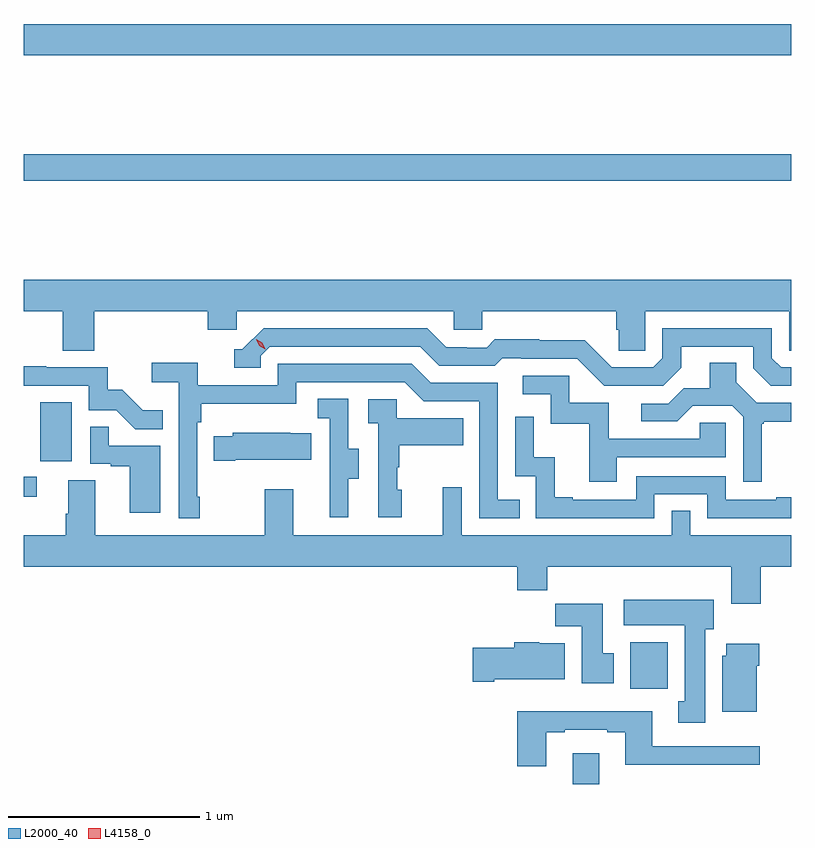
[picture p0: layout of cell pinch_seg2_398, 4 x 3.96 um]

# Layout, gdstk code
import gdstk
lib = gdstk.Library(unit=1e-6, precision=1e-09)
def R(c, l, rs):  # rectangles x0, y0, x1, y1
    for r in rs: c.add(gdstk.rectangle(r[:2], r[2:], *l))
def P(c, l, *ps):  # polygons
    for p in ps: c.add(gdstk.Polygon(p, *l))
L2000_40 = (2000, 40)
L4158_0 = (4158, 0)

pinch_seg2_398 = lib.new_cell('pinch_seg2_398')
R(pinch_seg2_398, L2000_40, [(960.413,621.195,960.553,621.355), (960.713,621.692,960.91,621.934), (957.553,622.692,957.622,622.797), (957.638,622.878,957.802,623.185), (957.553,624.34,961.553,624.476), (957.553,624.992,961.553,625.156)])
P(pinch_seg2_398, L2000_40, [(957.92,623.66),(958.511,623.66),(958.511,623.562),(958.662,623.562),(958.662,623.66),(959.793,623.66),(959.793,623.562),(959.943,623.562),(959.943,623.66),(960.641,623.66),(960.641,623.562),(960.655,623.562),(960.655,623.452),(960.792,623.452),(960.792,623.66),(961.542,623.66),(961.542,623.452),(961.553,623.452),(961.553,623.824),(957.553,623.824),(957.553,623.66),(957.755,623.66),(957.755,623.452),(957.92,623.452)],
  [(960.979,623.365),(960.979,623.475),(961.356,623.475),(961.356,623.361),(961.446,623.271),(961.553,623.271),(961.553,623.367),(961.5,623.367),(961.452,623.415),(961.452,623.571),(960.882,623.571),(960.882,623.415),(960.834,623.367),(960.618,623.367),(960.476,623.509),(960.24,623.509),(960.24,623.512),(960.007,623.512),(959.965,623.469),(959.862,623.469),(959.862,623.472),(959.755,623.472),(959.656,623.571),(958.803,623.571),(958.692,623.46),(958.649,623.46),(958.649,623.364),(958.788,623.364),(958.788,623.427),(958.836,623.475),(959.619,623.475),(959.718,623.376),(960.007,623.376),(960.046,623.415),(960.145,623.415),(960.145,623.412),(960.438,623.412),(960.579,623.271),(960.885,623.271)],
  [(961.399,623.073),(961.411,623.073),(961.411,623.084),(961.553,623.084),(961.553,623.181),(961.374,623.181),(961.267,623.288),(961.267,623.39),(961.127,623.39),(961.127,623.258),(960.992,623.258),(960.912,623.178),(960.771,623.178),(960.771,623.085),(960.958,623.085),(961.039,623.166),(961.245,623.166),(961.302,623.109),(961.302,622.77),(961.399,622.77)],
  [(958.471,622.693),(958.458,622.693),(958.458,623.081),(958.478,623.081),(958.478,623.177),(958.974,623.177),(958.974,623.289),(959.538,623.289),(959.637,623.19),(959.928,623.19),(959.928,622.581),(960.137,622.581),(960.137,622.677),(960.024,622.677),(960.024,623.286),(959.674,623.286),(959.575,623.385),(958.878,623.385),(958.878,623.274),(958.46,623.274),(958.46,623.39),(958.221,623.39),(958.221,623.288),(958.362,623.288),(958.362,622.581),(958.471,622.581)],
  [(958.277,623.143),(958.173,623.143),(958.066,623.25),(957.99,623.25),(957.99,623.367),(957.671,623.367),(957.671,623.372),(957.553,623.372),(957.553,623.271),(957.891,623.271),(957.891,623.142),(958.035,623.142),(958.133,623.044),(958.277,623.044)],
  [(960.643,622.899),(961.212,622.899),(961.212,623.079),(961.075,623.079),(961.075,622.995),(960.601,622.995),(960.601,623.181),(960.396,623.181),(960.396,623.322),(960.153,623.322),(960.153,623.226),(960.3,623.226),(960.3,623.073),(960.499,623.073),(960.499,622.77),(960.643,622.77)],
  [(959.245,622.786),(959.299,622.786),(959.299,622.941),(959.244,622.941),(959.244,623.204),(959.085,623.204),(959.085,623.101),(959.148,623.101),(959.148,622.797),(959.147,622.797),(959.147,622.584),(959.245,622.584)],
  [(959.524,622.728),(959.499,622.728),(959.499,622.847),(959.509,622.847),(959.509,622.961),(959.843,622.961),(959.843,623.101),(959.496,623.101),(959.496,623.199),(959.349,623.199),(959.349,623.075),(959.4,623.075),(959.4,622.584),(959.524,622.584)],
  [(960.84,622.704),(961.116,622.704),(961.116,622.581),(961.553,622.581),(961.553,622.69),(961.475,622.69),(961.475,622.677),(961.212,622.677),(961.212,622.8),(960.744,622.8),(960.744,622.677),(960.415,622.677),(960.415,622.69),(960.32,622.69),(960.32,622.898),(960.21,622.898),(960.21,623.11),(960.114,623.11),(960.114,622.8),(960.222,622.8),(960.222,622.581),(960.84,622.581)],
  [(958.264,622.959),(957.995,622.959),(957.995,623.057),(957.9,623.057),(957.9,622.863),(958.007,622.863),(958.007,622.851),(958.106,622.851),(958.106,622.608),(958.264,622.608)],
  [(958.654,622.886),(959.051,622.886),(959.051,623.023),(958.943,623.023),(958.943,623.026),(958.641,623.026),(958.641,623.008),(958.543,623.008),(958.543,622.879),(958.654,622.879)],
  [(961.026,622.619),(960.93,622.619),(960.93,622.492),(959.835,622.492),(959.835,622.741),(959.738,622.741),(959.738,622.492),(958.957,622.492),(958.957,622.732),(958.81,622.732),(958.81,622.492),(957.925,622.492),(957.925,622.778),(957.785,622.778),(957.785,622.604),(957.773,622.604),(957.773,622.492),(957.553,622.492),(957.553,622.328),(960.125,622.328),(960.125,622.204),(960.281,622.204),(960.281,622.328),(961.241,622.328),(961.241,622.134),(961.394,622.134),(961.394,622.328),(961.553,622.328),(961.553,622.492),(961.026,622.492)],
  [(961.105,622.002),(961.15,622.002),(961.15,622.156),(960.681,622.156),(960.681,622.022),(960.998,622.022),(960.998,621.626),(960.965,621.626),(960.965,621.513),(961.105,621.513)],
  [(960.628,621.876),(960.571,621.876),(960.571,622.135),(960.322,622.135),(960.322,622.016),(960.461,622.016),(960.461,621.72),(960.628,621.72)],
  [(960.004,621.74),(960.373,621.74),(960.373,621.928),(960.24,621.928),(960.24,621.934),(960.11,621.934),(960.11,621.906),(959.892,621.906),(959.892,621.728),(960.004,621.728)],
  [(961.372,621.812),(961.385,621.812),(961.385,621.925),(961.214,621.925),(961.214,621.864),(961.193,621.864),(961.193,621.572),(961.372,621.572)],
  [(960.277,621.465),(960.373,621.465),(960.373,621.477),(960.593,621.477),(960.593,621.465),(960.689,621.465),(960.689,621.296),(961.39,621.296),(961.39,621.393),(960.829,621.393),(960.829,621.574),(960.125,621.574),(960.125,621.288),(960.277,621.288)])
P(pinch_seg2_398, L4158_0, [(958.812,623.461),(958.781,623.48),(958.764,623.512),(958.764,623.513),(958.765,623.513),(958.796,623.494),(958.812,623.462),(958.812,623.461)])

lib.write_gds('pinch_seg2_398.gds')
